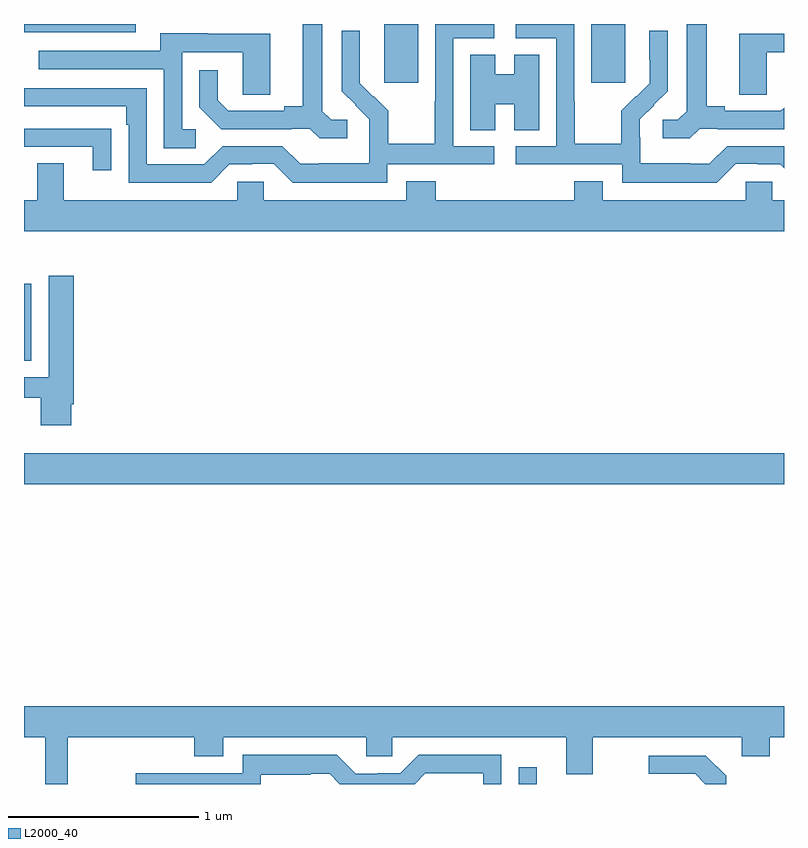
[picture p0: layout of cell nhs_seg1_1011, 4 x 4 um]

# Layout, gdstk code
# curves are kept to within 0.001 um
import gdstk
lib = gdstk.Library(unit=1e-6, precision=1e-09)
def R(c, l, rs):  # rectangles x0, y0, x1, y1
    for r in rs: c.add(gdstk.rectangle(r[:2], r[2:], *l))
def P(c, l, *ps):  # polygons
    for p in ps: c.add(gdstk.Polygon(p, *l))
L2000_40 = (2000, 40)

nhs_seg1_1011 = lib.new_cell('nhs_seg1_1011')
R(nhs_seg1_1011, L2000_40, [(169.603,506.199,169.699,506.287), (167,507.776,171,507.94), (167,508.426,167.038,508.831), (168.896,509.889,169.075,510.199), (169.985,509.889,170.164,510.199), (167,510.156,167.587,510.199)])
P(nhs_seg1_1011, L2000_40, [(170.745,509.463),(170.861,509.463),(170.861,509.46),(170.979,509.46),(171,509.439),(171,509.556),(170.7,509.556),(170.607,509.463),(170.507,509.463),(170.507,509.467),(170.244,509.467),(170.244,509.601),(170.242,509.601),(170.242,509.698),(170.388,509.846),(170.388,510.164),(170.292,510.164),(170.292,510.01),(170.294,510.01),(170.294,509.888),(170.223,509.817),(170.22,509.82),(170.143,509.743),(170.143,509.569),(169.899,509.569),(169.899,509.792),(169.896,509.792),(169.896,510.199),(169.587,510.199),(169.587,510.123),(169.8,510.123),(169.8,509.556),(169.587,509.556),(169.587,509.46),(170.148,509.46),(170.148,509.363),(170.645,509.363)],
  [(170.556,509.649),(170.65,509.649),(170.65,509.646),(171,509.646),(171,509.758),(170.984,509.742),(170.689,509.742),(170.689,509.765),(170.593,509.765),(170.593,510.199),(170.489,510.199),(170.489,509.741),(170.442,509.694),(170.361,509.694),(170.361,509.597),(170.504,509.597)],
  [(168.7,509.694),(168.618,509.694),(168.571,509.741),(168.571,510.199),(168.467,510.199),(168.467,509.765),(168.371,509.765),(168.371,509.742),(168.076,509.742),(168.019,509.799),(168.019,509.956),(167.922,509.956),(167.922,509.762),(168.038,509.646),(168.41,509.646),(168.41,509.649),(168.504,509.649),(168.556,509.597),(168.7,509.597)],
  [(168.912,509.46),(169.474,509.46),(169.474,509.556),(169.26,509.556),(169.26,510.123),(169.474,510.123),(169.474,510.199),(169.164,510.199),(169.164,509.792),(169.162,509.792),(169.162,509.569),(168.917,509.569),(168.917,509.743),(168.84,509.82),(168.837,509.817),(168.767,509.888),(168.768,510.164),(168.672,510.164),(168.672,509.846),(168.818,509.698),(168.818,509.601),(168.816,509.601),(168.816,509.467),(168.553,509.467),(168.553,509.463),(168.453,509.463),(168.36,509.556),(168.045,509.556),(167.949,509.46),(167.646,509.46),(167.646,509.862),(167,509.862),(167,509.766),(167.537,509.766),(167.537,509.669),(167.55,509.669),(167.55,509.364),(167.985,509.364),(168.081,509.46),(168.2,509.46),(168.2,509.463),(168.315,509.463),(168.415,509.363),(168.912,509.363)],
  [(167.905,509.646),(167.832,509.646),(167.832,510.051),(168.15,510.051),(168.15,509.827),(168.295,509.827),(168.295,510.147),(167.971,510.147),(167.971,510.151),(167.717,510.151),(167.717,510.057),(167.077,510.057),(167.077,509.961),(167.736,509.961),(167.736,509.545),(167.905,509.545)],
  [(170.91,510.051),(171,510.051),(171,510.147),(170.765,510.147),(170.765,509.827),(170.91,509.827)],
  [(169.48,509.777),(169.58,509.777),(169.58,509.641),(169.711,509.641),(169.711,510.038),(169.58,510.038),(169.58,509.935),(169.48,509.935),(169.48,510.038),(169.349,510.038),(169.349,509.641),(169.48,509.641)],
  [(167.459,509.648),(167.357,509.648),(167.357,509.649),(167,509.649),(167,509.553),(167.363,509.553),(167.363,509.43),(167.459,509.43)],
  [(171,509.272),(170.937,509.272),(170.937,509.37),(170.799,509.37),(170.799,509.272),(170.047,509.272),(170.047,509.371),(169.895,509.371),(169.895,509.272),(169.166,509.272),(169.166,509.371),(169.013,509.371),(169.013,509.272),(168.261,509.272),(168.261,509.37),(168.123,509.37),(168.123,509.272),(167.209,509.272),(167.209,509.467),(167.069,509.467),(167.069,509.272),(167,509.272),(167,509.108),(171,509.108)],
  [(167.248,508.198),(167.261,508.198),(167.261,508.873),(167.129,508.873),(167.129,508.341),(167,508.341),(167,508.233),(167.087,508.233),(167.087,508.086),(167.248,508.086)],
  [(167.229,506.444),(167.897,506.444),(167.897,506.345),(168.049,506.345),(168.049,506.444),(168.801,506.444),(168.801,506.346),(168.939,506.346),(168.939,506.444),(169.853,506.444),(169.853,506.25),(169.993,506.25),(169.993,506.444),(170.777,506.444),(170.777,506.345),(170.925,506.345),(170.925,506.444),(171,506.444),(171,506.608),(167,506.608),(167,506.444),(167.111,506.444),(167.111,506.199),(167.229,506.199)],
  [(168.246,506.249),(168.509,506.249),(168.509,506.253),(168.609,506.253),(168.663,506.199),(169.056,506.199),(169.113,506.256),(169.416,506.256),(169.416,506.199),(169.512,506.199),(169.512,506.352),(169.077,506.352),(168.981,506.256),(168.863,506.256),(168.863,506.253),(168.747,506.253),(168.647,506.353),(168.15,506.353),(168.15,506.256),(167.589,506.256),(167.589,506.199),(168.246,506.199)],
  [(170.695,506.243),(170.589,506.349),(170.289,506.349),(170.289,506.253),(170.532,506.253),(170.586,506.199),(170.695,506.199)])

lib.write_gds('nhs_seg1_1011.gds')
